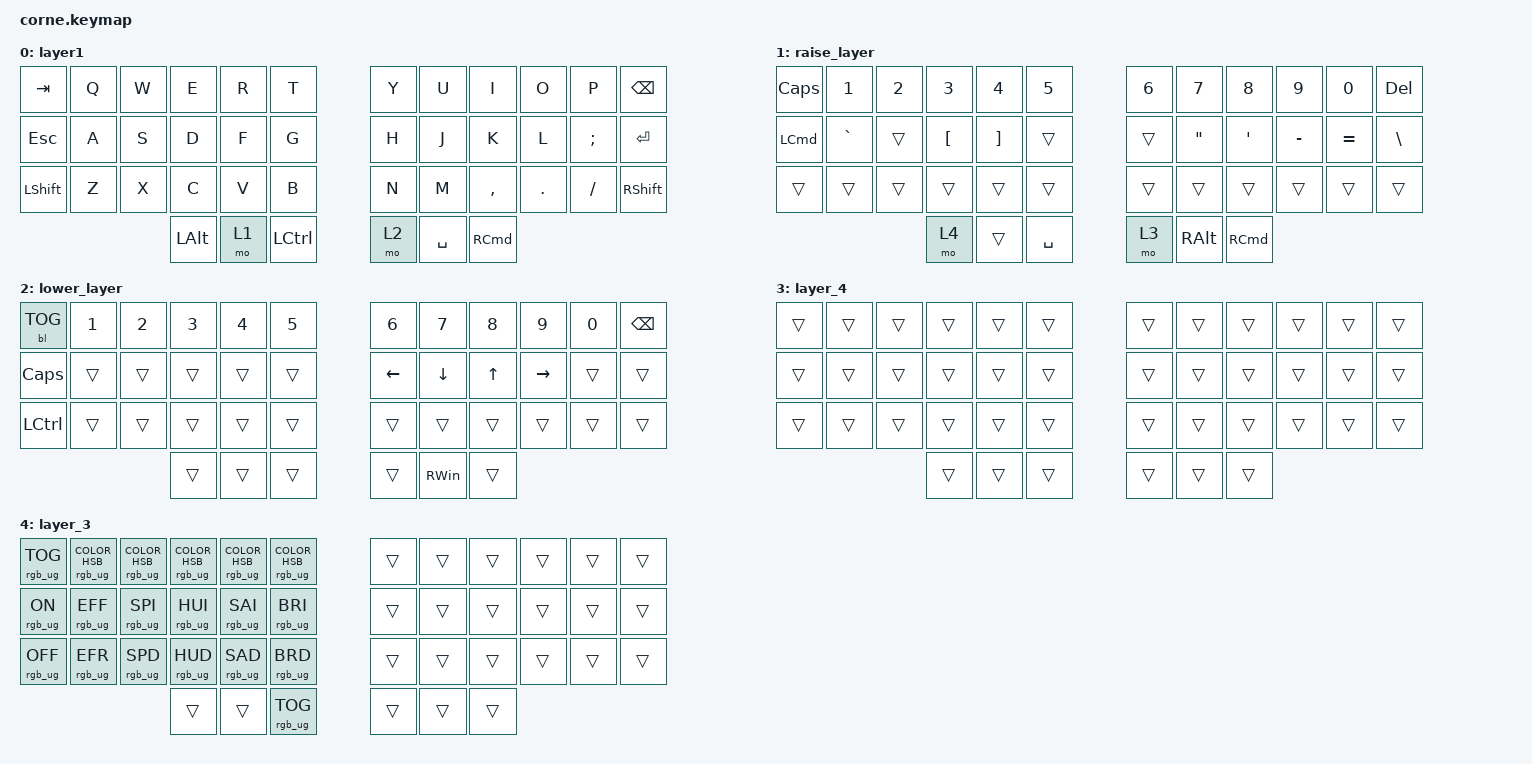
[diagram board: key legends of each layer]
/*
 * Copyright (c) 2020 The ZMK Contributors
 *
 * SPDX-License-Identifier: MIT
 */

#include <behaviors.dtsi>
#include <dt-bindings/zmk/backlight.h>
#include <dt-bindings/zmk/keys.h>
#include <dt-bindings/zmk/rgb.h>

/ {
    keymap {
        compatible = "zmk,keymap";

        layer1 {
            // -----------------------------------------------------------------------------------------
            // |  TAB |  Q  |  W  |  E  |  R  |  T  |   |  Y  |  U   |  I  |  O  |  P  | BKSP |
            // | CTRL |  A  |  S  |  D  |  F  |  G  |   |  H  |  J   |  K  |  L  |  ;  |  '   |
            // | SHFT |  Z  |  X  |  C  |  V  |  B  |   |  N  |  M   |  ,  |  .  |  /  | ESC  |
            //                    | GUI | LWR | SPC |   | ENT | RSE  | ALT |

            bindings = <
&kp TAB     &kp Q  &kp W  &kp E         &kp R  &kp T               &kp Y  &kp U      &kp I              &kp O    &kp P     &kp BSPC
&kp ESCAPE  &kp A  &kp S  &kp D         &kp F  &kp G               &kp H  &kp J      &kp K              &kp L    &kp SEMI  &kp ENTER
&kp LSHFT   &kp Z  &kp X  &kp C         &kp V  &kp B               &kp N  &kp M      &kp COMMA          &kp DOT  &kp FSLH  &kp RIGHT_SHIFT
                          &kp LEFT_ALT  &mo 1  &kp LEFT_CONTROL    &mo 2  &kp SPACE  &kp RIGHT_COMMAND
            >;
        };

        raise_layer {
            // -----------------------------------------------------------------------------------------
            // |  TAB |  !  |  @  |  #  |  $  |  %  |   |  ^  |  &  |  *  |  (  |  )  | BKSP |
            // | CTRL |     |     |     |     |     |   |  -  |  =  |  [  |  ]  |  \  |  `   |
            // | SHFT |     |     |     |     |     |   |  _  |  +  |  {  |  }  | "|" |  ~   |
            //                    | GUI |     | SPC |   | ENT |     | ALT |

            bindings = <
&kp CAPSLOCK      &kp NUMBER_1  &kp NUMBER_2  &kp NUMBER_3      &kp NUMBER_4       &kp N5       &kp NUMBER_6  &kp N7             &kp NUMBER_8       &kp N9     &kp N0     &kp DELETE
&kp LEFT_COMMAND  &kp GRAVE     &trans        &kp LEFT_BRACKET  &kp RIGHT_BRACKET  &trans       &trans        &kp DOUBLE_QUOTES  &kp SINGLE_QUOTE   &kp MINUS  &kp EQUAL  &kp BACKSLASH
&trans            &trans        &trans        &trans            &trans             &trans       &trans        &trans             &trans             &trans     &trans     &trans
                                              &mo 4             &trans             &kp SPACE    &mo 3         &kp RIGHT_ALT      &kp RIGHT_COMMAND
            >;
        };

        lower_layer {
            // -----------------------------------------------------------------------------------------
            // |  TAB |  1  |  2  |  3  |  4  |  5  |   |  6  |  7  |  8  |  9  |  0  | BKSP |
            // | BTCLR| BT1 | BT2 | BT3 | BT4 | BT5 |   | LFT | DWN |  UP | RGT |     |      |
            // | SHFT |     |     |     |     |     |   |     |     |     |     |     |      |
            //                    | GUI |     | SPC |   | ENT |     | ALT |

            bindings = <
&bl BL_TOG        &kp NUMBER_1  &kp NUMBER_2  &kp NUMBER_3  &kp NUMBER_4  &kp N5    &kp NUMBER_6  &kp N7         &kp N8  &kp N9     &kp N0  &kp BSPC
&kp CAPSLOCK      &trans        &trans        &trans        &trans        &trans    &kp LEFT      &kp DOWN       &kp UP  &kp RIGHT  &trans  &trans
&kp LEFT_CONTROL  &trans        &trans        &trans        &trans        &trans    &trans        &trans         &trans  &trans     &trans  &trans
                                              &trans        &trans        &trans    &trans        &kp RIGHT_WIN  &trans
            >;
        };

        layer_4 {
            bindings = <
&trans  &trans  &trans  &trans  &trans  &trans    &trans  &trans  &trans  &trans  &trans  &trans
&trans  &trans  &trans  &trans  &trans  &trans    &trans  &trans  &trans  &trans  &trans  &trans
&trans  &trans  &trans  &trans  &trans  &trans    &trans  &trans  &trans  &trans  &trans  &trans
                        &trans  &trans  &trans    &trans  &trans  &trans
            >;
        };

        layer_3 {
            bindings = <
&rgb_ug RGB_TOG  &rgb_ug RGB_COLOR_HSB(0,100,50)  &rgb_ug RGB_COLOR_HSB(41,100,50)  &rgb_ug RGB_COLOR_HSB(238,100,50)  &rgb_ug RGB_COLOR_HSB(299,100,50)  &rgb_ug RGB_COLOR_HSB(0,0,100)    &trans  &trans  &trans  &trans  &trans  &trans
&rgb_ug RGB_ON   &rgb_ug RGB_EFF                  &rgb_ug RGB_SPI                   &rgb_ug RGB_HUI                    &rgb_ug RGB_SAI                    &rgb_ug RGB_BRI                   &trans  &trans  &trans  &trans  &trans  &trans
&rgb_ug RGB_OFF  &rgb_ug RGB_EFR                  &rgb_ug RGB_SPD                   &rgb_ug RGB_HUD                    &rgb_ug RGB_SAD                    &rgb_ug RGB_BRD                   &trans  &trans  &trans  &trans  &trans  &trans
                                                                                    &trans                             &trans                             &rgb_ug RGB_TOG                   &trans  &trans  &trans
            >;
        };
    };
};

&led_strip { chain-length = <6>; };
